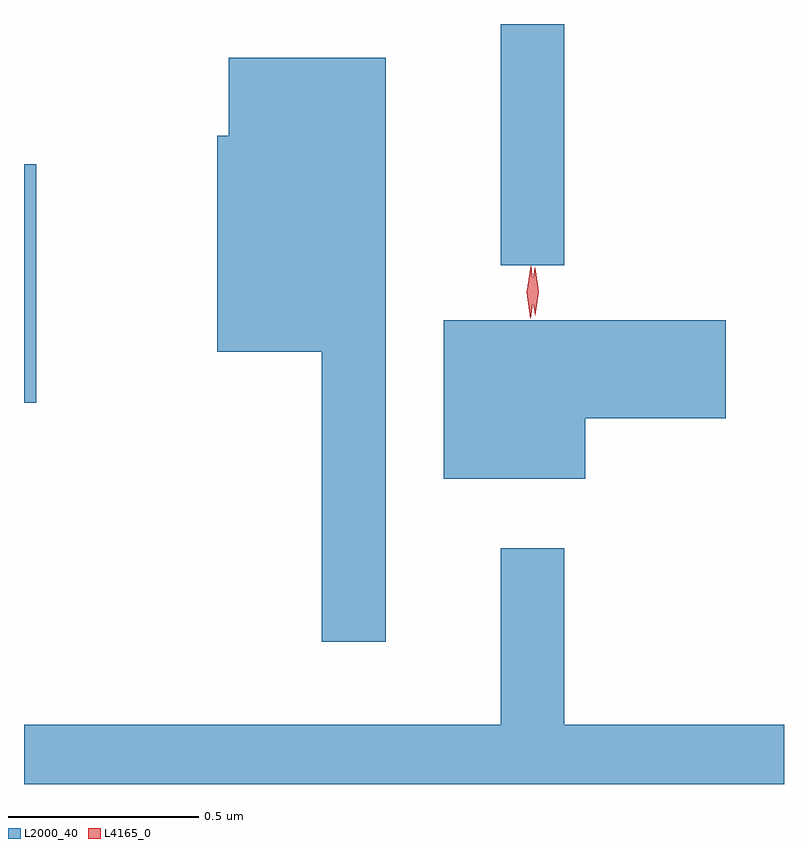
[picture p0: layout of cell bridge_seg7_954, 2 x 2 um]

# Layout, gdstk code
import gdstk
lib = gdstk.Library(unit=1e-6, precision=1e-09)
def R(c, l, rs):  # rectangles x0, y0, x1, y1
    for r in rs: c.add(gdstk.rectangle(r[:2], r[2:], *l))
def P(c, l, *ps):  # polygons
    for p in ps: c.add(gdstk.Polygon(p, *l))
L2000_40 = (2000, 40)
L4165_0 = (4165, 0)

bridge_seg7_954 = lib.new_cell('bridge_seg7_954')
R(bridge_seg7_954, L2000_40, [(532.587,1699.891,532.619,1700.519), (533.841,1700.253,534.009,1700.888)])
P(bridge_seg7_954, L2000_40, [(533.539,1700.799),(533.126,1700.799),(533.126,1700.594),(533.096,1700.594),(533.096,1700.026),(533.371,1700.026),(533.371,1699.263),(533.539,1699.263)],
  [(534.064,1699.851),(534.434,1699.851),(534.434,1700.109),(533.691,1700.109),(533.691,1699.691),(534.064,1699.691)],
  [(534.587,1699.044),(534.009,1699.044),(534.009,1699.508),(533.841,1699.508),(533.841,1699.044),(532.587,1699.044),(532.587,1698.888),(534.587,1698.888)])
P(bridge_seg7_954, L4165_0, [(533.919,1700.114),(533.91,1700.182),(533.92,1700.25),(533.921,1700.25),(533.922,1700.25),(533.93,1700.182),(533.92,1700.114),(533.92,1700.114)],
  [(533.932,1700.12),(533.932,1700.121),(533.922,1700.184),(533.931,1700.246),(533.932,1700.247),(533.932,1700.246),(533.942,1700.184),(533.933,1700.121)])

lib.write_gds('bridge_seg7_954.gds')
